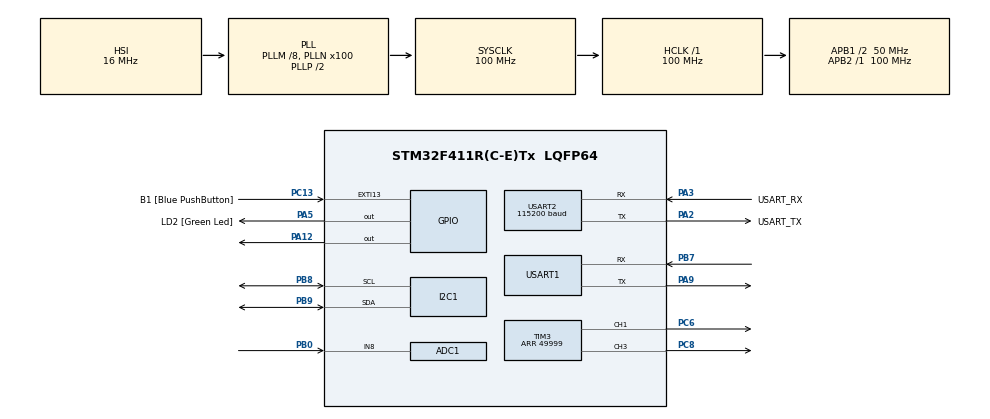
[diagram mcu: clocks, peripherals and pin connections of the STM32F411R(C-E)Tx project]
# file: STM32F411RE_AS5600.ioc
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ADC1.Channel-2\#ChannelRegularConversion=ADC_CHANNEL_8
ADC1.ContinuousConvMode=ENABLE
ADC1.DMAContinuousRequests=ENABLE
ADC1.NbrOfConversion=1
ADC1.NbrOfConversionFlag=1
ADC1.Rank-2\#ChannelRegularConversion=1
ADC1.SamplingTime-2\#ChannelRegularConversion=ADC_SAMPLETIME_3CYCLES
ADC1.ScanConvMode=ENABLE
ADC1.master=1
Dma.ADC1.5.Direction=DMA_PERIPH_TO_MEMORY
Dma.ADC1.5.FIFOMode=DMA_FIFOMODE_DISABLE
Dma.ADC1.5.Instance=DMA2_Stream0
Dma.ADC1.5.MemDataAlignment=DMA_MDATAALIGN_HALFWORD
Dma.ADC1.5.MemInc=DMA_MINC_ENABLE
Dma.ADC1.5.Mode=DMA_CIRCULAR
Dma.ADC1.5.PeriphDataAlignment=DMA_PDATAALIGN_HALFWORD
Dma.ADC1.5.PeriphInc=DMA_PINC_DISABLE
Dma.ADC1.5.Priority=DMA_PRIORITY_LOW
Dma.I2C1_RX.0.Direction=DMA_PERIPH_TO_MEMORY
Dma.I2C1_RX.0.FIFOMode=DMA_FIFOMODE_DISABLE
Dma.I2C1_RX.0.Instance=DMA1_Stream0
Dma.I2C1_RX.0.MemDataAlignment=DMA_MDATAALIGN_BYTE
Dma.I2C1_RX.0.MemInc=DMA_MINC_ENABLE
Dma.I2C1_RX.0.Mode=DMA_NORMAL
Dma.I2C1_RX.0.PeriphDataAlignment=DMA_PDATAALIGN_BYTE
Dma.I2C1_RX.0.PeriphInc=DMA_PINC_DISABLE
Dma.I2C1_RX.0.Priority=DMA_PRIORITY_LOW
Dma.I2C1_TX.1.Direction=DMA_MEMORY_TO_PERIPH
Dma.I2C1_TX.1.FIFOMode=DMA_FIFOMODE_DISABLE
Dma.I2C1_TX.1.Instance=DMA1_Stream1
Dma.I2C1_TX.1.MemDataAlignment=DMA_MDATAALIGN_BYTE
Dma.I2C1_TX.1.MemInc=DMA_MINC_ENABLE
Dma.I2C1_TX.1.Mode=DMA_NORMAL
Dma.I2C1_TX.1.PeriphDataAlignment=DMA_PDATAALIGN_BYTE
Dma.I2C1_TX.1.PeriphInc=DMA_PINC_DISABLE
Dma.I2C1_TX.1.Priority=DMA_PRIORITY_LOW
Dma.Request0=I2C1_RX
Dma.Request1=I2C1_TX
Dma.Request2=USART1_RX
Dma.Request3=USART2_RX
Dma.Request4=USART2_TX
Dma.Request5=ADC1
Dma.USART1_RX.2.Direction=DMA_PERIPH_TO_MEMORY
Dma.USART1_RX.2.FIFOMode=DMA_FIFOMODE_DISABLE
Dma.USART1_RX.2.Instance=DMA2_Stream2
Dma.USART1_RX.2.MemDataAlignment=DMA_MDATAALIGN_BYTE
Dma.USART1_RX.2.MemInc=DMA_MINC_ENABLE
Dma.USART1_RX.2.Mode=DMA_CIRCULAR
Dma.USART1_RX.2.PeriphDataAlignment=DMA_PDATAALIGN_BYTE
Dma.USART1_RX.2.PeriphInc=DMA_PINC_DISABLE
Dma.USART1_RX.2.Priority=DMA_PRIORITY_LOW
Dma.USART2_RX.3.Direction=DMA_PERIPH_TO_MEMORY
Dma.USART2_RX.3.FIFOMode=DMA_FIFOMODE_DISABLE
Dma.USART2_RX.3.Instance=DMA1_Stream5
Dma.USART2_RX.3.MemDataAlignment=DMA_MDATAALIGN_BYTE
Dma.USART2_RX.3.MemInc=DMA_MINC_ENABLE
Dma.USART2_RX.3.Mode=DMA_CIRCULAR
Dma.USART2_RX.3.PeriphDataAlignment=DMA_PDATAALIGN_BYTE
Dma.USART2_RX.3.PeriphInc=DMA_PINC_DISABLE
Dma.USART2_RX.3.Priority=DMA_PRIORITY_LOW
Dma.USART2_TX.4.Direction=DMA_MEMORY_TO_PERIPH
Dma.USART2_TX.4.FIFOMode=DMA_FIFOMODE_DISABLE
Dma.USART2_TX.4.Instance=DMA1_Stream6
Dma.USART2_TX.4.MemDataAlignment=DMA_MDATAALIGN_BYTE
Dma.USART2_TX.4.MemInc=DMA_MINC_ENABLE
Dma.USART2_TX.4.Mode=DMA_NORMAL
Dma.USART2_TX.4.PeriphDataAlignment=DMA_PDATAALIGN_BYTE
Dma.USART2_TX.4.PeriphInc=DMA_PINC_DISABLE
Dma.USART2_TX.4.Priority=DMA_PRIORITY_LOW
I2C1.I2C_Mode=I2C_Fast
Mcu.Family=STM32F4
Mcu.Name=STM32F411R(C-E)Tx
Mcu.Package=LQFP64
NVIC.ADC_IRQn=true\:0\:0\:false\:false\:true\:true\:true\:true
NVIC.DMA1_Stream0_IRQn=true\:0\:0\:false\:false\:true\:false\:true\:true
NVIC.DMA1_Stream1_IRQn=true\:0\:0\:false\:false\:true\:false\:true\:true
NVIC.DMA1_Stream5_IRQn=true\:0\:0\:false\:false\:true\:false\:true\:true
NVIC.DMA1_Stream6_IRQn=true\:0\:0\:false\:false\:true\:false\:true\:true
NVIC.DMA2_Stream0_IRQn=true\:0\:0\:false\:false\:true\:false\:true\:true
NVIC.DMA2_Stream2_IRQn=true\:0\:0\:false\:false\:true\:false\:true\:true
NVIC.I2C1_ER_IRQn=true\:0\:0\:false\:false\:true\:true\:true\:true
NVIC.I2C1_EV_IRQn=true\:0\:0\:false\:false\:true\:true\:true\:true
NVIC.PriorityGroup=NVIC_PRIORITYGROUP_0
NVIC.USART1_IRQn=true\:0\:0\:false\:false\:true\:true\:true\:true
NVIC.USART2_IRQn=true\:0\:0\:false\:false\:true\:true\:true\:true
PA12.Signal=GPIO_Output
PA13.GPIO_Label=TMS
PA13.Mode=Serial_Wire
PA13.Signal=SYS_JTMS-SWDIO
PA14.GPIO_Label=TCK
PA14.Mode=Serial_Wire
PA14.Signal=SYS_JTCK-SWCLK
PA2.GPIO_Label=USART_TX
PA2.Mode=Asynchronous
PA2.Signal=USART2_TX
PA3.GPIO_Label=USART_RX
PA3.Mode=Asynchronous
PA3.Signal=USART2_RX
PA5.GPIO_Label=LD2 [Green Led]
PA5.Signal=GPIO_Output
PA9.Mode=Asynchronous
PA9.Signal=USART1_TX
PB0.Signal=ADCx_IN8
PB3.GPIO_Label=SWO
PB3.Signal=SYS_JTDO-SWO
PB7.Mode=Asynchronous
PB7.Signal=USART1_RX
PB8.GPIO_Pu=GPIO_PULLUP
PB8.Mode=I2C
PB8.Signal=I2C1_SCL
PB9.GPIO_Pu=GPIO_PULLUP
PB9.Mode=I2C
PB9.Signal=I2C1_SDA
PC13-ANTI_TAMP.GPIO_Label=B1 [Blue PushButton]
PC13-ANTI_TAMP.GPIO_ModeDefaultEXTI=GPIO_MODE_IT_FALLING
PC13-ANTI_TAMP.Signal=GPXTI13
PC14-OSC32_IN.Mode=LSE-External-Oscillator
PC14-OSC32_IN.Signal=RCC_OSC32_IN
PC15-OSC32_OUT.Mode=LSE-External-Oscillator
PC15-OSC32_OUT.Signal=RCC_OSC32_OUT
PC6.Signal=S_TIM3_CH1
PC8.Signal=S_TIM3_CH3
PH0\ -\ OSC_IN.Mode=HSE-External-Clock-Source
PH0\ -\ OSC_IN.Signal=RCC_OSC_IN
PH1\ -\ OSC_OUT.Mode=HSE-External-Clock-Source
PH1\ -\ OSC_OUT.Signal=RCC_OSC_OUT
ProjectManager.HeapSize=0x200
ProjectManager.StackSize=0x400
ProjectManager.TargetToolchain=STM32CubeIDE
RCC.48MHZClocksFreq_Value=50000000
RCC.AHBFreq_Value=100000000
RCC.APB1CLKDivider=RCC_HCLK_DIV2
RCC.APB1Freq_Value=50000000
RCC.APB1TimFreq_Value=100000000
RCC.APB2Freq_Value=100000000
RCC.APB2TimFreq_Value=100000000
RCC.CortexFreq_Value=100000000
RCC.FLatency-AdvancedSettings=FLASH_LATENCY_3
RCC.HCLKFreq_Value=100000000
RCC.HSE_VALUE=8000000
RCC.HSI_VALUE=16000000
RCC.PLLM=8
RCC.PLLN=100
RCC.SYSCLKFreq_VALUE=100000000
RCC.SYSCLKSource=RCC_SYSCLKSOURCE_PLLCLK
RCC.VCOOutputFreq_Value=200000000
SH.ADCx_IN8.0=ADC1_IN8,IN8
SH.S_TIM3_CH1.0=TIM3_CH1,PWM Generation1 CH1
SH.S_TIM3_CH3.0=TIM3_CH3,PWM Generation3 CH3
TIM3.Channel-PWM\ Generation1\ CH1=TIM_CHANNEL_1
TIM3.Channel-PWM\ Generation3\ CH3=TIM_CHANNEL_3
TIM3.Period=49999
USART1.VirtualMode=VM_ASYNC
USART2.BaudRate=115200
USART2.VirtualMode=VM_ASYNC
VP_TIM3_VS_ClockSourceINT.Mode=Internal
board=NUCLEO-F411RE

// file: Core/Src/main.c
/* USER CODE BEGIN Header */
/**
 ******************************************************************************
 * @file           : main.c
 * @brief          : Main program body
 ******************************************************************************
 * @attention
 *
 * Copyright (c) 2023 STMicroelectronics.
 * All rights reserved.
 *
 * This software is licensed under terms that can be found in the LICENSE file
 * in the root directory of this software component.
 * If no LICENSE file comes with this software, it is provided AS-IS.
 *
 ******************************************************************************
 */
/* USER CODE END Header */
#include "main.h"

/* USER CODE BEGIN Includes */
#include "stdio.h"
#include "string.h"
#include "AS5600.h"
#include "pwm_freq.h"
/* USER CODE END Includes */

ADC_HandleTypeDef hadc1;
DMA_HandleTypeDef hdma_adc1;

I2C_HandleTypeDef hi2c1;
DMA_HandleTypeDef hdma_i2c1_rx;
DMA_HandleTypeDef hdma_i2c1_tx;

TIM_HandleTypeDef htim3;

UART_HandleTypeDef huart1;
UART_HandleTypeDef huart2;
DMA_HandleTypeDef hdma_usart1_rx;
DMA_HandleTypeDef hdma_usart2_rx;
DMA_HandleTypeDef hdma_usart2_tx;

/* USER CODE BEGIN PV */
uint16_t adcRawData[10];
uint16_t CurrentRaw;
uint16_t Current;
uint16_t rawAngle;
uint8_t RxBuffer[5];
uint8_t TxBuffer[7];
int32_t PWM;
uint16_t Freq;
/* USER CODE END PV */

void SystemClock_Config(void);
static void MX_GPIO_Init(void);
static void MX_DMA_Init(void);
static void MX_USART2_UART_Init(void);
static void MX_I2C1_Init(void);
static void MX_USART1_UART_Init(void);
static void MX_TIM3_Init(void);
static void MX_ADC1_Init(void);
/* USER CODE BEGIN PFP */
void UARTDMAConfig();
void setMotor();
/* USER CODE END PFP */

int main(void)
{

  /* MCU Configuration--------------------------------------------------------*/

  /* Reset of all peripherals, Initializes the Flash interface and the Systick. */
  HAL_Init();

  /* Configure the system clock */
  SystemClock_Config();

  /* Initialize all configured peripherals */
  MX_GPIO_Init();
  MX_DMA_Init();
  MX_USART2_UART_Init();
  MX_I2C1_Init();
  MX_USART1_UART_Init();
  MX_TIM3_Init();
  MX_ADC1_Init();
  /* USER CODE BEGIN 2 */

  AS5600_TypeDef* sensor = AS5600_new();
  sensor->i2c_handle = &hi2c1;
  AS5600_init(sensor);
  UARTDMAConfig();
  HAL_TIM_PWM_Start(&htim3, TIM_CHANNEL_1);
  HAL_TIM_PWM_Start(&htim3, TIM_CHANNEL_3);
  HAL_ADC_Start_DMA(&hadc1, (uint32_t*) adcRawData ,10);
//  AS5600_set_watchdog_timer(sensor,AS5600_WATCHDOG_OFF);
  /* USER CODE END 2 */

  /* Infinite loop */
  /* USER CODE BEGIN WHILE */
  	uint32_t timestamp = HAL_GetTick() + 5;
	while (1) {
		if (HAL_GetTick() >= timestamp)
		{
			register int i;
			CurrentRaw = 0;
			timestamp += 5;
			AS5600_get_angle(sensor, &rawAngle);

			TxBuffer[0] = 69; // header
			TxBuffer[1] = rawAngle & 0xff;
			TxBuffer[2] = (rawAngle & 0xff00) >> 8;

	  		for (i=0 ; i < 10 ; i++){
	  			CurrentRaw += adcRawData[i];
	  		}
	  		Current = CurrentRaw/10;

			TxBuffer[3] = Current & 0xff;
			TxBuffer[4] = (Current & 0xff00) >> 8;
			TxBuffer[5] = 10; // /n

	  		HAL_UART_Transmit_DMA(&huart2,TxBuffer, 6);

	  		setMotor();
		}
//		TxBuffer[0] = rawAngle;
//		HAL_UART_Transmit(&huart2, &TxBuffer[0], 1, 10);
    /* USER CODE END WHILE */

	}
}

void SystemClock_Config(void)
{
  RCC_OscInitTypeDef RCC_OscInitStruct = {0};
  RCC_ClkInitTypeDef RCC_ClkInitStruct = {0};

  /** Configure the main internal regulator output voltage
  */
  __HAL_RCC_PWR_CLK_ENABLE();
  __HAL_PWR_VOLTAGESCALING_CONFIG(PWR_REGULATOR_VOLTAGE_SCALE1);

  /** Initializes the RCC Oscillators according to the specified parameters
  * in the RCC_OscInitTypeDef structure.
  */
  RCC_OscInitStruct.OscillatorType = RCC_OSCILLATORTYPE_HSI;
  RCC_OscInitStruct.HSIState = RCC_HSI_ON;
  RCC_OscInitStruct.HSICalibrationValue = RCC_HSICALIBRATION_DEFAULT;
  RCC_OscInitStruct.PLL.PLLState = RCC_PLL_ON;
  RCC_OscInitStruct.PLL.PLLSource = RCC_PLLSOURCE_HSI;
  RCC_OscInitStruct.PLL.PLLM = 8;
  RCC_OscInitStruct.PLL.PLLN = 100;
  RCC_OscInitStruct.PLL.PLLP = RCC_PLLP_DIV2;
  RCC_OscInitStruct.PLL.PLLQ = 4;
  if (HAL_RCC_OscConfig(&RCC_OscInitStruct) != HAL_OK)
  {
    Error_Handler();
  }

  /** Initializes the CPU, AHB and APB buses clocks
  */
  RCC_ClkInitStruct.ClockType = RCC_CLOCKTYPE_HCLK|RCC_CLOCKTYPE_SYSCLK
                              |RCC_CLOCKTYPE_PCLK1|RCC_CLOCKTYPE_PCLK2;
  RCC_ClkInitStruct.SYSCLKSource = RCC_SYSCLKSOURCE_PLLCLK;
  RCC_ClkInitStruct.AHBCLKDivider = RCC_SYSCLK_DIV1;
  RCC_ClkInitStruct.APB1CLKDivider = RCC_HCLK_DIV2;
  RCC_ClkInitStruct.APB2CLKDivider = RCC_HCLK_DIV1;

  if (HAL_RCC_ClockConfig(&RCC_ClkInitStruct, FLASH_LATENCY_3) != HAL_OK)
  {
    Error_Handler();
  }
}

static void MX_ADC1_Init(void)
{

  ADC_ChannelConfTypeDef sConfig = {0};

  /** Configure the global features of the ADC (Clock, Resolution, Data Alignment and number of conversion)
  */
  hadc1.Instance = ADC1;
  hadc1.Init.ClockPrescaler = ADC_CLOCK_SYNC_PCLK_DIV4;
  hadc1.Init.Resolution = ADC_RESOLUTION_12B;
  hadc1.Init.ScanConvMode = ENABLE;
  hadc1.Init.ContinuousConvMode = ENABLE;
  hadc1.Init.DiscontinuousConvMode = DISABLE;
  hadc1.Init.ExternalTrigConvEdge = ADC_EXTERNALTRIGCONVEDGE_NONE;
  hadc1.Init.ExternalTrigConv = ADC_SOFTWARE_START;
  hadc1.Init.DataAlign = ADC_DATAALIGN_RIGHT;
  hadc1.Init.NbrOfConversion = 1;
  hadc1.Init.DMAContinuousRequests = ENABLE;
  hadc1.Init.EOCSelection = ADC_EOC_SINGLE_CONV;
  if (HAL_ADC_Init(&hadc1) != HAL_OK)
  {
    Error_Handler();
  }

  /** Configure for the selected ADC regular channel its corresponding rank in the sequencer and its sample time.
  */
  sConfig.Channel = ADC_CHANNEL_8;
  sConfig.Rank = 1;
  sConfig.SamplingTime = ADC_SAMPLETIME_3CYCLES;
  if (HAL_ADC_ConfigChannel(&hadc1, &sConfig) != HAL_OK)
  {
    Error_Handler();
  }

}

static void MX_I2C1_Init(void)
{

  hi2c1.Instance = I2C1;
  hi2c1.Init.ClockSpeed = 400000;
  hi2c1.Init.DutyCycle = I2C_DUTYCYCLE_2;
  hi2c1.Init.OwnAddress1 = 0;
  hi2c1.Init.AddressingMode = I2C_ADDRESSINGMODE_7BIT;
  hi2c1.Init.DualAddressMode = I2C_DUALADDRESS_DISABLE;
  hi2c1.Init.OwnAddress2 = 0;
  hi2c1.Init.GeneralCallMode = I2C_GENERALCALL_DISABLE;
  hi2c1.Init.NoStretchMode = I2C_NOSTRETCH_DISABLE;
  if (HAL_I2C_Init(&hi2c1) != HAL_OK)
  {
    Error_Handler();
  }

}

static void MX_TIM3_Init(void)
{

  TIM_ClockConfigTypeDef sClockSourceConfig = {0};
  TIM_MasterConfigTypeDef sMasterConfig = {0};
  TIM_OC_InitTypeDef sConfigOC = {0};

  htim3.Instance = TIM3;
  htim3.Init.Prescaler = 0;
  htim3.Init.CounterMode = TIM_COUNTERMODE_UP;
  htim3.Init.Period = 49999;
  htim3.Init.ClockDivision = TIM_CLOCKDIVISION_DIV1;
  htim3.Init.AutoReloadPreload = TIM_AUTORELOAD_PRELOAD_DISABLE;
  if (HAL_TIM_Base_Init(&htim3) != HAL_OK)
  {
    Error_Handler();
  }
  sClockSourceConfig.ClockSource = TIM_CLOCKSOURCE_INTERNAL;
  if (HAL_TIM_ConfigClockSource(&htim3, &sClockSourceConfig) != HAL_OK)
  {
    Error_Handler();
  }
  if (HAL_TIM_PWM_Init(&htim3) != HAL_OK)
  {
    Error_Handler();
  }
  sMasterConfig.MasterOutputTrigger = TIM_TRGO_RESET;
  sMasterConfig.MasterSlaveMode = TIM_MASTERSLAVEMODE_DISABLE;
  if (HAL_TIMEx_MasterConfigSynchronization(&htim3, &sMasterConfig) != HAL_OK)
  {
    Error_Handler();
  }
  sConfigOC.OCMode = TIM_OCMODE_PWM1;
  sConfigOC.Pulse = 0;
  sConfigOC.OCPolarity = TIM_OCPOLARITY_HIGH;
  sConfigOC.OCFastMode = TIM_OCFAST_DISABLE;
  if (HAL_TIM_PWM_ConfigChannel(&htim3, &sConfigOC, TIM_CHANNEL_1) != HAL_OK)
  {
    Error_Handler();
  }
  if (HAL_TIM_PWM_ConfigChannel(&htim3, &sConfigOC, TIM_CHANNEL_3) != HAL_OK)
  {
    Error_Handler();
  }
  HAL_TIM_MspPostInit(&htim3);

}

static void MX_USART1_UART_Init(void)
{

  huart1.Instance = USART1;
  huart1.Init.BaudRate = 115200;
  huart1.Init.WordLength = UART_WORDLENGTH_8B;
  huart1.Init.StopBits = UART_STOPBITS_1;
  huart1.Init.Parity = UART_PARITY_NONE;
  huart1.Init.Mode = UART_MODE_TX_RX;
  huart1.Init.HwFlowCtl = UART_HWCONTROL_NONE;
  huart1.Init.OverSampling = UART_OVERSAMPLING_16;
  if (HAL_UART_Init(&huart1) != HAL_OK)
  {
    Error_Handler();
  }

}

static void MX_USART2_UART_Init(void)
{

  huart2.Instance = USART2;
  huart2.Init.BaudRate = 115200;
  huart2.Init.WordLength = UART_WORDLENGTH_8B;
  huart2.Init.StopBits = UART_STOPBITS_1;
  huart2.Init.Parity = UART_PARITY_NONE;
  huart2.Init.Mode = UART_MODE_TX_RX;
  huart2.Init.HwFlowCtl = UART_HWCONTROL_NONE;
  huart2.Init.OverSampling = UART_OVERSAMPLING_16;
  if (HAL_UART_Init(&huart2) != HAL_OK)
  {
    Error_Handler();
  }

}

static void MX_DMA_Init(void)
{

  /* DMA controller clock enable */
  __HAL_RCC_DMA1_CLK_ENABLE();
  __HAL_RCC_DMA2_CLK_ENABLE();

  /* DMA interrupt init */
  /* DMA1_Stream0_IRQn interrupt configuration */
  HAL_NVIC_SetPriority(DMA1_Stream0_IRQn, 0, 0);
  HAL_NVIC_EnableIRQ(DMA1_Stream0_IRQn);
  /* DMA1_Stream1_IRQn interrupt configuration */
  HAL_NVIC_SetPriority(DMA1_Stream1_IRQn, 0, 0);
  HAL_NVIC_EnableIRQ(DMA1_Stream1_IRQn);
  /* DMA1_Stream5_IRQn interrupt configuration */
  HAL_NVIC_SetPriority(DMA1_Stream5_IRQn, 0, 0);
  HAL_NVIC_EnableIRQ(DMA1_Stream5_IRQn);
  /* DMA1_Stream6_IRQn interrupt configuration */
  HAL_NVIC_SetPriority(DMA1_Stream6_IRQn, 0, 0);
  HAL_NVIC_EnableIRQ(DMA1_Stream6_IRQn);
  /* DMA2_Stream0_IRQn interrupt configuration */
  HAL_NVIC_SetPriority(DMA2_Stream0_IRQn, 0, 0);
  HAL_NVIC_EnableIRQ(DMA2_Stream0_IRQn);
  /* DMA2_Stream2_IRQn interrupt configuration */
  HAL_NVIC_SetPriority(DMA2_Stream2_IRQn, 0, 0);
  HAL_NVIC_EnableIRQ(DMA2_Stream2_IRQn);

}

static void MX_GPIO_Init(void)
{
  GPIO_InitTypeDef GPIO_InitStruct = {0};

  /* GPIO Ports Clock Enable */
  __HAL_RCC_GPIOC_CLK_ENABLE();
  __HAL_RCC_GPIOH_CLK_ENABLE();
  __HAL_RCC_GPIOA_CLK_ENABLE();
  __HAL_RCC_GPIOB_CLK_ENABLE();

  /*Configure GPIO pin Output Level */
  HAL_GPIO_WritePin(GPIOA, LD2_Pin|GPIO_PIN_12, GPIO_PIN_RESET);

  /*Configure GPIO pin : B1_Pin */
  GPIO_InitStruct.Pin = B1_Pin;
  GPIO_InitStruct.Mode = GPIO_MODE_IT_FALLING;
  GPIO_InitStruct.Pull = GPIO_NOPULL;
  HAL_GPIO_Init(B1_GPIO_Port, &GPIO_InitStruct);

  /*Configure GPIO pins : LD2_Pin PA12 */
  GPIO_InitStruct.Pin = LD2_Pin|GPIO_PIN_12;
  GPIO_InitStruct.Mode = GPIO_MODE_OUTPUT_PP;
  GPIO_InitStruct.Pull = GPIO_NOPULL;
  GPIO_InitStruct.Speed = GPIO_SPEED_FREQ_LOW;
  HAL_GPIO_Init(GPIOA, &GPIO_InitStruct);

}

/* USER CODE BEGIN 4 */
void HAL_UART_RxCpltCallback(UART_HandleTypeDef *huart){
	if(huart == &huart2){
		if(RxBuffer[0] == 70){ // PWM
			if(RxBuffer[2] == 1)
				PWM = RxBuffer[1];

			else if(RxBuffer[2] == 2){
				PWM = -RxBuffer[1];
			}
		}
		if(RxBuffer[0] == 69){ // Frequency
			Freq = (RxBuffer[1] << 8) | RxBuffer[2];
		}
	}
}

void UARTDMAConfig(){
	//start UART in DMA Mode
	HAL_UART_Receive_DMA(&huart2, RxBuffer, 3);
}

void setMotor(){
	HAL_GPIO_WritePin(GPIOA, GPIO_PIN_12, GPIO_PIN_SET);
	if(PWM > 0){
		PWMWrite(&htim3, TIM_CHANNEL_1, Freq, 100);
		PWMWrite(&htim3, TIM_CHANNEL_3, Freq, PWM);
	}
	else{
		PWMWrite(&htim3, TIM_CHANNEL_1, Freq, 0);
		PWMWrite(&htim3, TIM_CHANNEL_3, Freq, PWM);
	}
}
/* USER CODE END 4 */

void Error_Handler(void)
{
	__disable_irq();
	while (1) {
	}
}
